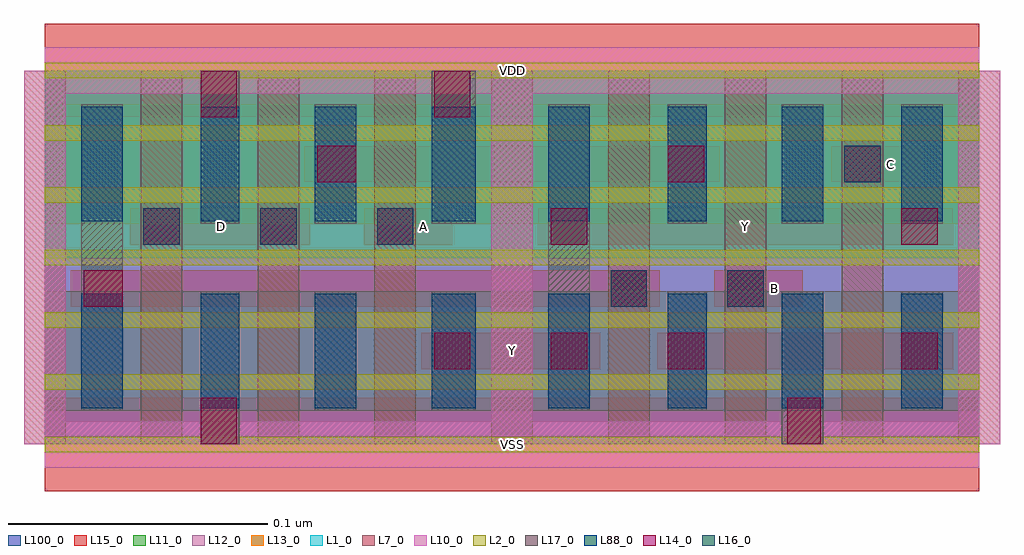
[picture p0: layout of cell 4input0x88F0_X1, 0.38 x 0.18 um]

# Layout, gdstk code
import gdstk
lib = gdstk.Library(unit=1e-6, precision=1e-09)
def R(c, l, rs):  # rectangles x0, y0, x1, y1
    for r in rs: c.add(gdstk.rectangle(r[:2], r[2:], *l))
def A(c, l, x, y, w, h, nx, ny, dx, dy):  # array of equal rectangles
    R(c, l, [(x+i*dx, y+j*dy, x+i*dx+w, y+j*dy+h) for i in range(nx) for j in range(ny)])
def P(c, l, *ps):  # polygons
    for p in ps: c.add(gdstk.Polygon(p, *l))
L1_0 = (1, 0)
L2_0 = (2, 0)
L7_0 = (7, 0)
L10_0 = (10, 0)
L11_0 = (11, 0)
L12_0 = (12, 0)
L13_0 = (13, 0)
L14_0 = (14, 0)
L15_0 = (15, 0)
L16_0 = (16, 0)
L17_0 = (17, 0)
L88_0 = (88, 0)
L100_0 = (100, 0)

c_4input0x88f0_x1 = lib.new_cell('4input0x88F0_X1')
R(c_4input0x88f0_x1, L1_0, [(0,0.072,0.36,0.144)])
A(c_4input0x88f0_x1, L2_0, 0, -0.003, 0.36, 0.006, 1, 7, 0, 0.024)
A(c_4input0x88f0_x1, L7_0, -0.008, 0, 0.016, 0.144, 9, 1, 0.045, 0)
P(c_4input0x88f0_x1, L10_0, [(0,-0.009),(0,0),(-0.008,0),(-0.008,0.135),(0.008,0.135),(0.008,0.009),(0.172,0.009),(0.172,0.135),(0.188,0.135),(0.188,0.009),(0.352,0.009),(0.352,0.135),(-0.008,0.135),(-0.008,0.144),(0,0.144),(0,0.153),(0.36,0.153),(0.36,0.144),(0.368,0.144),(0.368,0),(0.36,0),(0.36,-0.009)])
R(c_4input0x88f0_x1, L11_0, [(0,0.013,0.36,0.059), (0,0.085,0.36,0.131)])
R(c_4input0x88f0_x1, L12_0, [(0,0,0.36,0.072)])
R(c_4input0x88f0_x1, L13_0, [(0,0.072,0.36,0.144)])
A(c_4input0x88f0_x1, L14_0, 0.15, 0.029, 0.014, 0.014, 3, 1, 0.045, 0)
A(c_4input0x88f0_x1, L14_0, 0.038, 0.077, 0.014, 0.014, 3, 1, 0.045, 0)
R(c_4input0x88f0_x1, L14_0, [(0.06,0,0.074,0.018), (0.286,0,0.299,0.018), (0.33,0.029,0.344,0.043), (0.015,0.053,0.03,0.067), (0.218,0.053,0.232,0.067), (0.263,0.053,0.277,0.067), (0.195,0.077,0.209,0.091), (0.33,0.077,0.344,0.091), (0.105,0.101,0.12,0.115), (0.24,0.101,0.254,0.115), (0.308,0.101,0.322,0.115), (0.06,0.126,0.074,0.144), (0.15,0.126,0.164,0.144)])
R(c_4input0x88f0_x1, L15_0, [(0,-0.018,0.36,0.018), (0.145,0.029,0.214,0.043), (0.236,0.029,0.35,0.043), (0.01,0.053,0.237,0.067), (0.258,0.053,0.292,0.067), (0.033,0.077,0.102,0.091), (0.123,0.077,0.157,0.091), (0.19,0.077,0.35,0.091), (0.1,0.101,0.26,0.115), (0.303,0.101,0.338,0.115), (0,0.126,0.36,0.162)])
A(c_4input0x88f0_x1, L16_0, 0.038, 0.077, 0.014, 0.014, 3, 1, 0.045, 0)
R(c_4input0x88f0_x1, L16_0, [(0.218,0.053,0.232,0.067), (0.263,0.053,0.277,0.067), (0.308,0.101,0.322,0.115)])
R(c_4input0x88f0_x1, L17_0, [(0.06,0,0.075,0.059), (0.284,0,0.3,0.059), (0.014,0.013,0.03,0.131), (0.104,0.013,0.12,0.059), (0.149,0.013,0.166,0.059), (0.194,0.013,0.21,0.131), (0.24,0.013,0.255,0.059), (0.33,0.013,0.346,0.059), (0.06,0.085,0.075,0.144), (0.104,0.085,0.12,0.131), (0.149,0.085,0.166,0.144), (0.24,0.085,0.255,0.131), (0.284,0.085,0.3,0.131), (0.33,0.085,0.346,0.131)])
A(c_4input0x88f0_x1, L88_0, 0.014, 0.014, 0.016, 0.044, 4, 2, 0.09, 0.072)
R(c_4input0x88f0_x1, L88_0, [(0.06,0.014,0.075,0.058), (0.149,0.014,0.166,0.058), (0.24,0.014,0.255,0.058), (0.33,0.014,0.346,0.058), (0.06,0.086,0.075,0.13), (0.149,0.086,0.166,0.13), (0.24,0.086,0.255,0.13), (0.33,0.086,0.346,0.13)])
R(c_4input0x88f0_x1, L100_0, [(0,0,0.36,0.144)])
c_4input0x88f0_x1.add(gdstk.Label('A', (0.146,0.084), layer=15, texttype=251))
c_4input0x88f0_x1.add(gdstk.Label('VSS', (0.18,0), layer=15, texttype=251))
c_4input0x88f0_x1.add(gdstk.Label('VDD', (0.18,0.144), layer=15, texttype=251))
c_4input0x88f0_x1.add(gdstk.Label('D', (0.068,0.084), layer=15, texttype=251))
c_4input0x88f0_x1.add(gdstk.Label('VSS', (0.18,0), layer=15, texttype=251))
c_4input0x88f0_x1.add(gdstk.Label('VDD', (0.18,0.144), layer=15, texttype=251))
c_4input0x88f0_x1.add(gdstk.Label('Y', (0.27,0.084), layer=15, texttype=251))
c_4input0x88f0_x1.add(gdstk.Label('Y', (0.18,0.036), layer=15, texttype=251))
c_4input0x88f0_x1.add(gdstk.Label('VSS', (0.18,0), layer=15, texttype=251))
c_4input0x88f0_x1.add(gdstk.Label('VDD', (0.18,0.144), layer=15, texttype=251))
c_4input0x88f0_x1.add(gdstk.Label('B', (0.281,0.06), layer=15, texttype=251))
c_4input0x88f0_x1.add(gdstk.Label('VSS', (0.18,0), layer=15, texttype=251))
c_4input0x88f0_x1.add(gdstk.Label('VDD', (0.18,0.144), layer=15, texttype=251))
c_4input0x88f0_x1.add(gdstk.Label('C', (0.326,0.108), layer=15, texttype=251))
c_4input0x88f0_x1.add(gdstk.Label('VSS', (0.18,0), layer=15, texttype=251))
c_4input0x88f0_x1.add(gdstk.Label('VDD', (0.18,0.144), layer=15, texttype=251))
c_4input0x88f0_x1.add(gdstk.Label('VSS', (0.18,0), layer=3, texttype=251))
c_4input0x88f0_x1.add(gdstk.Label('VSS', (0.18,0), layer=3, texttype=251))
c_4input0x88f0_x1.add(gdstk.Label('VSS', (0.18,0), layer=3, texttype=251))
c_4input0x88f0_x1.add(gdstk.Label('VSS', (0.18,0), layer=3, texttype=251))
c_4input0x88f0_x1.add(gdstk.Label('VSS', (0.18,0), layer=3, texttype=251))
c_4input0x88f0_x1.add(gdstk.Label('VDD', (0.18,0.144), layer=1, texttype=251))
c_4input0x88f0_x1.add(gdstk.Label('VDD', (0.18,0.144), layer=1, texttype=251))
c_4input0x88f0_x1.add(gdstk.Label('VDD', (0.18,0.144), layer=1, texttype=251))
c_4input0x88f0_x1.add(gdstk.Label('VDD', (0.18,0.144), layer=1, texttype=251))
c_4input0x88f0_x1.add(gdstk.Label('VDD', (0.18,0.144), layer=1, texttype=251))

lib.write_gds('4input0x88F0_X1.gds')
